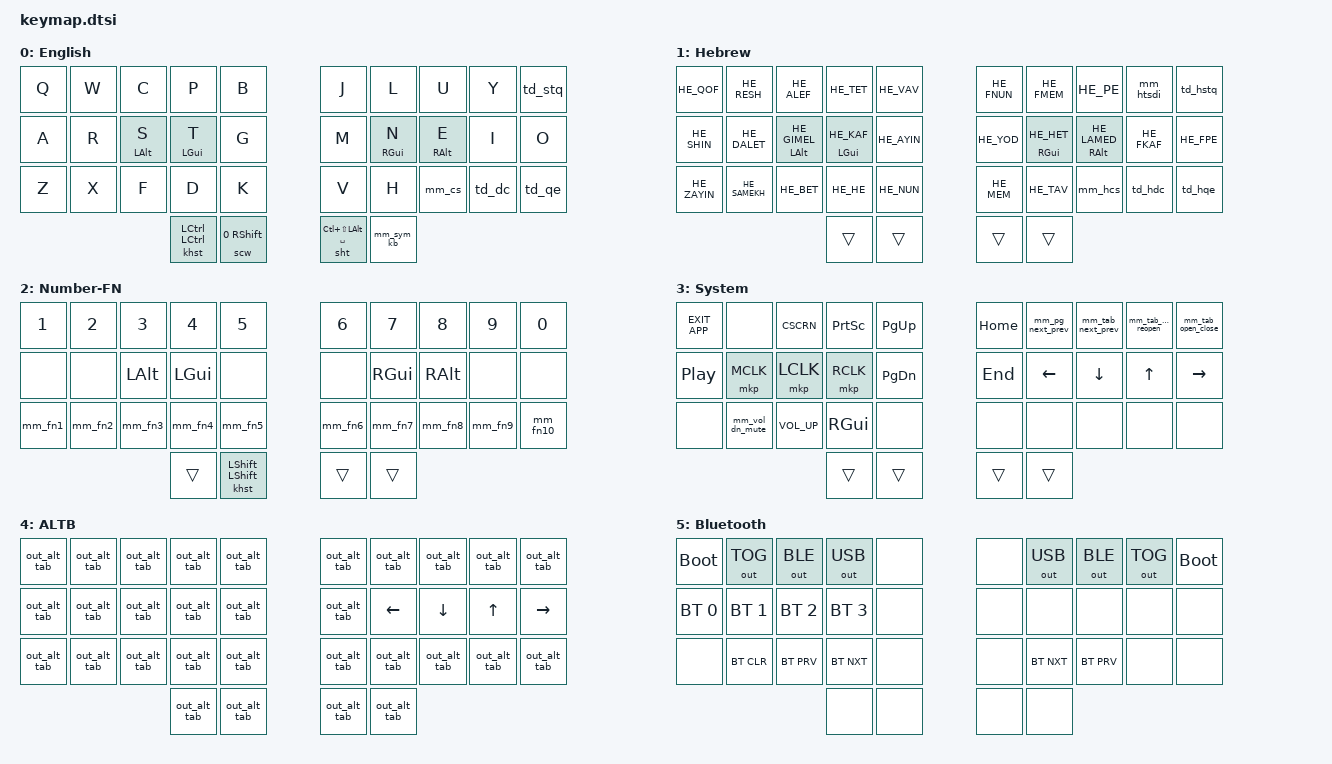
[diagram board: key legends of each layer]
/*
 * Copyright (c) 2020 The ZMK Contributors
 *
 * SPDX-License-Identifier: MIT
 */

#include <behaviors.dtsi>
#include <dt-bindings/zmk/bt.h>
#include <dt-bindings/zmk/keys.h>
#include <dt-bindings/zmk/outputs.h>
#include <dt-bindings/zmk/mouse.h>

// Hebrew Keymap
#include "keys_hebrew.h"

// Extra Keys
#include "shortcut.h"

#include "behaviors.dtsi"
#include "macros.dtsi"
#include "combos.dtsi"

#define MEH LC(LS(LALT))
#define HYP LC(LS(LA(LGUI)))

// Behavior Defaults

&mt {
    tapping_term_ms = <200>;
    flavor = "tap-preferred";
};

&sk {
    release-after-ms = <2000>;
    quick-release;
};

&caps_word { continue-list = <BACKSPACE DELETE UNDERSCORE MINUS BSPC DEL N1 N2 N3 N4 N5 N6 N7 N8 N9 N0>; };

// Behaviors Constants

#define long_tap 200
#define short_tap 150

// Combos Constants
// #define default_timeout 50
// Layers

#define ENG     0
#define HEB     1
#define SYS     2
#define FUN     3
#define ALTB    4
#define BLTH    5

/*
* KEY POSITIONS
* ╭─────────────────────╮ ╭─────────────────────╮
* │ LT4 LT3 LT2 LT1 LT0 │ │ RT0 RT1 RT2 RT3 RT4 │
* │ LM4 LM3 LM2 LM1 LM0 │ │ RM0 RM1 RM2 RM3 RM4 │
* │ LB4 LB3 LB2 LB1 LB0 │ │ RB0 RB1 RB2 RB3 RB4 │
* ╰───────────╮ LH1 LH0 │ │ RH0 RH1 ╭───────────╯
*             ╰─────────╯ ╰─────────╯ 
* 34 Key Matrix
* ╭──────────────╮ ╭──────────────╮
* │ 0  1  2  3  4│ │ 5  6  7  8  9│
* │10 11 12 13 14│ │15 16 17 18 19│
* │20 21 22 23 24│ │25 26 27 28 29│
* ╰────────╮30 31│ │32 33╭────────╯
*          ╰─────╯ ╰─────╯         
*/

/ {
    keymap {
        compatible = "zmk,keymap";

        ENG {
            display-name = "English";
            bindings = <
&kp Q  &kp W  &kp C        &kp P              &kp B                &kp J           &kp L        &kp U        &kp Y   &td_stq
&kp A  &kp R  &hml LALT S  &hml LGUI T        &kp G                &kp M           &hmr RGUI N  &hmr RALT E  &kp I   &kp O
&kp Z  &kp X  &kp F        &kp D              &kp K                &kp V           &kp H        &mm_cs       &td_dc  &td_qe
                           &khst LCTRL LCTRL  &scw 0 RSHIFT        &sht MEH SPACE  &mm_sym_kb
            >;
        };

        HEB {
            display-name = "Hebrew";
            bindings = <
&kp HE_QOF    &kp HE_RESH    &kp HE_ALEF   &kp HE_TET        &kp HE_VAV         &kp HE_FNUN  &kp HE_FMEM       &kp HE_PE     &mm_htsdi    &td_hstq
&kp HE_SHIN   &kp HE_DALET   &hml LALT HE_GIMEL  &hml LGUI HE_KAF  &kp HE_AYIN        &kp HE_YOD   &hmr RGUI HE_HET  &hmr RALT HE_LAMED  &kp HE_FKAF  &kp HE_FPE
&kp HE_ZAYIN  &kp HE_SAMEKH  &kp HE_BET    &kp HE_HE         &kp HE_NUN         &kp HE_MEM   &kp HE_TAV        &mm_hcs       &td_hdc      &td_hqe
                                           &trans            &trans             &trans       &trans
            >;
        };

        NUM {
            display-name = "Number-FN";
            bindings = <
&kp N1   &kp N2   &kp N3   &kp N4    &kp N5         &kp N6   &kp N7    &kp N8   &kp N9   &kp N0
&none    &none    &kp LALT    &kp LGUI  &none          &none    &kp RGUI  &kp RALT    &none    &none
&mm_fn1  &mm_fn2  &mm_fn3  &mm_fn4   &mm_fn5        &mm_fn6  &mm_fn7   &mm_fn8  &mm_fn9  &mm_fn10
                           &trans    &khst LSHFT LSHFT         &trans   &trans
            >;
        };

        SYS {
            display-name = "System";
            bindings = <
&kp EXIT_APP  &none            &kp CSCRN     &kp PSCRN  &kp PG_UP        &kp HOME  &mm_pg_next_prev  &mm_tab_next_prev  &mm_tab_refresh_reopen  &mm_tab_open_close
&kp C_PP      &mkp MCLK        &mkp LCLK     &mkp RCLK  &kp PG_DN        &kp END   &kp LEFT          &kp DOWN           &kp UP                  &kp RIGHT
&none         &mm_vol_dn_mute  &kp C_VOL_UP  &kp RGUI   &none            &none     &none             &none              &none                   &none
                                             &trans     &trans           &trans    &trans
            >;
        };

        ALTB {
            bindings = <
&out_alt_tab  &out_alt_tab  &out_alt_tab  &out_alt_tab  &out_alt_tab        &out_alt_tab  &out_alt_tab    &out_alt_tab  &out_alt_tab  &out_alt_tab
&out_alt_tab  &out_alt_tab  &out_alt_tab  &out_alt_tab  &out_alt_tab        &out_alt_tab  &kp LEFT_ARROW  &kp DOWN      &kp UP        &kp RIGHT
&out_alt_tab  &out_alt_tab  &out_alt_tab  &out_alt_tab  &out_alt_tab        &out_alt_tab  &out_alt_tab    &out_alt_tab  &out_alt_tab  &out_alt_tab
                                          &out_alt_tab  &out_alt_tab        &out_alt_tab  &out_alt_tab
            >;
        };

        BLTH {
            display-name = "Bluetooth";
            bindings = <
&bootloader   &out OUT_TOG  &out OUT_BLE  &out OUT_USB  &none        &none  &out OUT_USB  &out OUT_BLE  &out OUT_TOG  &bootloader
&bt BT_SEL 0  &bt BT_SEL 1  &bt BT_SEL 2  &bt BT_SEL 3  &none        &none  &none         &none         &none         &none
&none         &bt BT_CLR    &bt BT_PRV    &bt BT_NXT    &none        &none  &bt BT_NXT    &bt BT_PRV    &none  &none
                                          &none         &none        &none  &none
            >;
        };
    };
};
